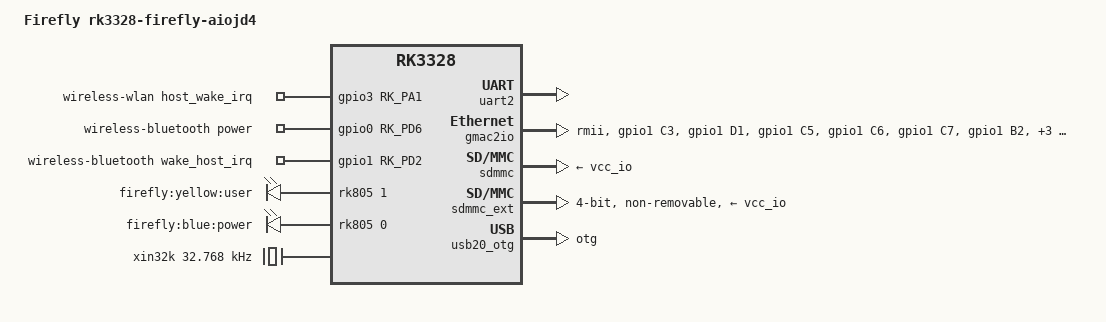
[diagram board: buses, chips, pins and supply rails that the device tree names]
/dts-v1/;
#include "rk3328-firefly-port.dtsi"
#include <dt-bindings/sensor-dev.h>
/ {
	model = "Firefly rk3328-firefly-aiojd4";
	compatible = "rockchip,rk3328-firefly-aiojd4", "rockchip,rk3328";

	wireless-wlan {
		compatible = "wlan-platdata";
		rockchip,grf = <&grf>;
		clocks = <&rk805 1>;
		clock-names = "ext_clock";
		wifi_chip_type = "rtl8723ds";
		sdio_vref = <1800>;
		WIFI,host_wake_irq = <&gpio3 RK_PA1 GPIO_ACTIVE_HIGH>;
		status = "okay";
	};

    wireless-bluetooth {
		compatible = "bluetooth-platdata";
		clocks = <&cru SCLK_RTC32K>;
		clock-names = "ext_clock";
		BT,power_gpio = <&gpio0 RK_PD6 GPIO_ACTIVE_HIGH>;
		BT,wake_host_irq = <&gpio1 RK_PD2 GPIO_ACTIVE_HIGH>;
		status = "okay";
	};

	fiq-debugger {
		status = "disabled";
	};

	leds {
		compatible = "gpio-leds";

		power {
			label = "firefly:yellow:user";
			linux,default-trigger = "ir-power-click";
			gpios = <&rk805 1 GPIO_ACTIVE_HIGH>;
			default-state = "on";
		};

		user {
			label = "firefly:blue:power";
			linux,default-trigger = "ir-user-click";
			gpios = <&rk805 0 GPIO_ACTIVE_HIGH>;
			default-state = "on";
		};
	};

	xin32k: xin32k {
		compatible = "fixed-clock";
		clock-frequency = <32768>;
		clock-output-names = "xin32k";
		#clock-cells = <0>;
	};
};

&uart2 {
	dma-names = "tx", "rx";
	status = "okay";
};

&vccio_sd {
	gpios = <&gpio0 27 GPIO_ACTIVE_HIGH>;
	pinctrl-names = "default";
	pinctrl-0 = <&sd_pwr_1800_sel>;
};

&vcc_sd {
	status = "disabled";
};

&gmac_clkin {
	clock-frequency = <50000000>;
};

&sdio_pwrseq {
	reset-gpios = <&gpio3 RK_PB0 GPIO_ACTIVE_LOW>;
};

&gmac2io {
	phy-mode = "rmii";
	clock_in_out = "output";
	assigned-clocks = <&cru SCLK_MAC2IO_REFOUT>;
	assigned-clock-parents = <&gmac_clkin>;
	pinctrl-names = "default";
	pinctrl-0 = <&rmiim1_pins &gmac_reset>;
	status = "okay";
};

&codec {
	io-channels = <&saradc 0>;
	hp-det-adc-value = <1800>;
	rk3328-codec-spk-gpiomute;
};

&pinctrl {

	sdio-pwrseq {
		wifi_enable_h: wifi-enable-h {
			rockchip,pins =
				<3 RK_PB0 RK_FUNC_GPIO &pcfg_pull_none>;
		};
	};

	gmac2phy {
		gmac_reset: gamc-reset {
			rockchip,pins =
				<1 18 RK_FUNC_GPIO &pcfg_pull_none>;
		};
	};

	gmac-1 {
		rmiim1_pins: rmiim1-pins {
		    rockchip,pins =
		        /* mac_mdio */
		        <1 RK_PC3 RK_FUNC_2 &pcfg_pull_none_2ma>,
		        /* mac_txen */
		        <1 RK_PD1 RK_FUNC_2 &pcfg_pull_none_12ma>,
		        /* mac_clk */
		        <1 RK_PC5 RK_FUNC_2 &pcfg_pull_none_2ma>,
		        /* mac_rxdv */
		        <1 RK_PC6 RK_FUNC_2 &pcfg_pull_none_2ma>,
		        /* mac_mdc */
		        <1 RK_PC7 RK_FUNC_2 &pcfg_pull_none_2ma>,
		        /* mac_rxd1 */
		        <1 RK_PB2 RK_FUNC_2 &pcfg_pull_none_2ma>,
		        /* mac_rxd0 */
		        <1 RK_PB3 RK_FUNC_2 &pcfg_pull_none_2ma>,
		        /* mac_txd1 */
		        <1 RK_PB0 RK_FUNC_2 &pcfg_pull_none_12ma>,
		        /* mac_txd0 */
		        <1 RK_PB1 RK_FUNC_2 &pcfg_pull_none_12ma>;
		};
	};

	vccio-sd {
		sd_pwr_1800_sel:sd-pwr-1800-sel {
			rockchip,pins =
				<0 RK_PD3 RK_FUNC_GPIO &pcfg_pull_none>;
		};
	};
};

&rkvdec {
	vcodec-supply = <&vdd_logic>;
};

&sdmmc {
	vmmc-supply = <&vcc_io>;
};

&sdmmc_ext {
	bus-width = <4>;
	//cap-sd-highspeed;
	cap-sdio-irq;
	disable-wp;
	keep-power-in-suspend;
	max-frequency = <500000000>;
	mmc-pwrseq = <&sdio_pwrseq>;
	num-slots = <1>;
	non-removable;
	pinctrl-names = "default";
	pinctrl-0 = <&sdmmc0ext_clk &sdmmc0ext_cmd &sdmmc0ext_bus4>;
	supports-sdio;
	status = "okay";
	vmmc-supply = <&vcc_io>;
};

&uart1 {
	status = "disabled";
};

&usb20_otg {
	dr_mode = "otg";
};

&dmc {
	system-status-freq = <
		/*system status         freq(KHz)*/
		SYS_STATUS_NORMAL       786000
		SYS_STATUS_REBOOT       786000
		SYS_STATUS_SUSPEND      786000
		SYS_STATUS_VIDEO_1080P  786000
		SYS_STATUS_VIDEO_4K     786000
		SYS_STATUS_VIDEO_4K_10B 786000
		SYS_STATUS_PERFORMANCE  786000
		SYS_STATUS_BOOST        786000
	>;
};
